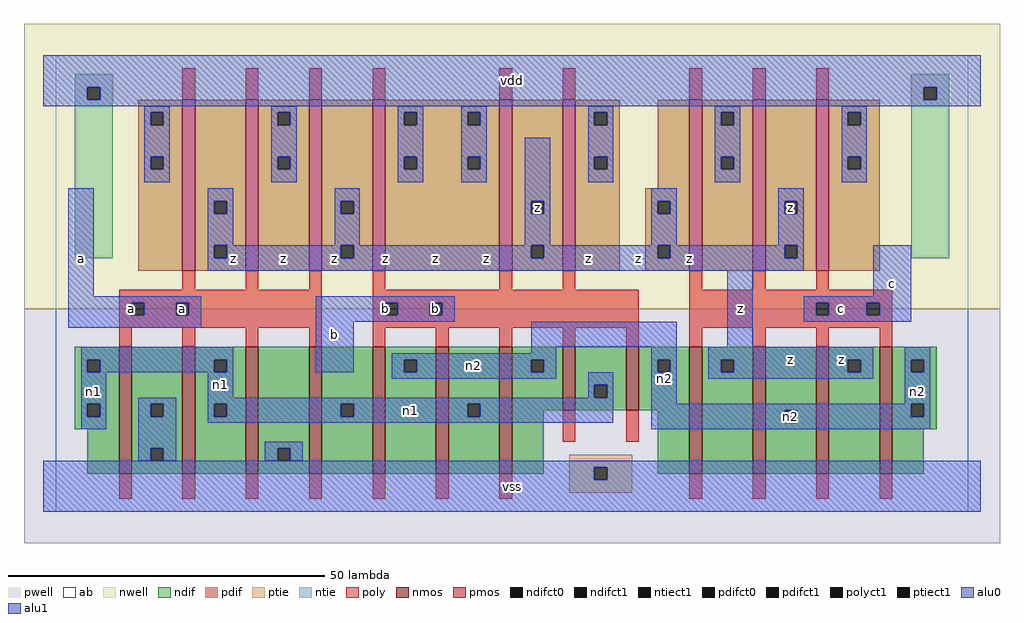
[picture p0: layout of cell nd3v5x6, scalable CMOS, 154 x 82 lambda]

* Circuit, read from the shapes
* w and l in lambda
.subckt nd3v5x6 a b c n1 n2 vdd vss z
M1 vss a n1 vss nfet w=20 l=2 m=4
M2 n2 b n1 vss nfet w=20 l=2 m=3
M3 n1 b n2 vss nfet w=10 l=2 m=2
M4 z c n2 vss nfet w=20 l=2 m=4
M5 z a vdd vdd pfet w=27 l=2 m=3
M6 vdd b z vdd pfet w=27 l=2 m=3
M7 vdd c z vdd pfet w=27 l=2 m=3
.ends

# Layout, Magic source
magic
tech scmos
<< ab >>
rect 0 0 144 72
<< nwell >>
rect -5 32 149 77
<< pwell >>
rect -5 -5 149 32
<< poly >>
rect 20 65 22 70
rect 30 65 32 70
rect 40 65 42 70
rect 50 65 52 70
rect 70 65 72 70
rect 80 65 82 70
rect 100 65 102 70
rect 110 65 112 70
rect 120 65 122 70
rect 20 35 22 38
rect 30 35 32 38
rect 40 35 42 38
rect 10 33 42 35
rect 10 31 12 33
rect 14 31 19 33
rect 21 31 42 33
rect 10 29 42 31
rect 10 26 12 29
rect 20 26 22 29
rect 30 26 32 29
rect 40 26 42 29
rect 50 35 52 38
rect 70 35 72 38
rect 80 35 82 38
rect 100 35 102 38
rect 110 35 112 38
rect 120 35 122 38
rect 50 33 92 35
rect 50 31 52 33
rect 54 31 59 33
rect 61 31 92 33
rect 50 29 92 31
rect 50 26 52 29
rect 60 26 62 29
rect 70 26 72 29
rect 80 26 82 29
rect 90 26 92 29
rect 100 33 132 35
rect 100 31 120 33
rect 122 31 128 33
rect 130 31 132 33
rect 100 29 132 31
rect 100 26 102 29
rect 110 26 112 29
rect 120 26 122 29
rect 130 26 132 29
rect 80 11 82 16
rect 90 11 92 16
rect 10 2 12 6
rect 20 2 22 6
rect 30 2 32 6
rect 40 2 42 6
rect 50 2 52 6
rect 60 2 62 6
rect 70 2 72 6
rect 100 2 102 6
rect 110 2 112 6
rect 120 2 122 6
rect 130 2 132 6
<< ndif >>
rect 3 24 10 26
rect 3 22 5 24
rect 7 22 10 24
rect 3 17 10 22
rect 3 15 5 17
rect 7 15 10 17
rect 3 13 10 15
rect 5 6 10 13
rect 12 17 20 26
rect 12 15 15 17
rect 17 15 20 17
rect 12 10 20 15
rect 12 8 15 10
rect 17 8 20 10
rect 12 6 20 8
rect 22 24 30 26
rect 22 22 25 24
rect 27 22 30 24
rect 22 17 30 22
rect 22 15 25 17
rect 27 15 30 17
rect 22 6 30 15
rect 32 10 40 26
rect 32 8 35 10
rect 37 8 40 10
rect 32 6 40 8
rect 42 17 50 26
rect 42 15 45 17
rect 47 15 50 17
rect 42 6 50 15
rect 52 24 60 26
rect 52 22 55 24
rect 57 22 60 24
rect 52 6 60 22
rect 62 17 70 26
rect 62 15 65 17
rect 67 15 70 17
rect 62 6 70 15
rect 72 24 80 26
rect 72 22 75 24
rect 77 22 80 24
rect 72 16 80 22
rect 82 20 90 26
rect 82 18 85 20
rect 87 18 90 20
rect 82 16 90 18
rect 92 24 100 26
rect 92 22 95 24
rect 97 22 100 24
rect 92 16 100 22
rect 72 6 77 16
rect 95 6 100 16
rect 102 24 110 26
rect 102 22 105 24
rect 107 22 110 24
rect 102 6 110 22
rect 112 16 120 26
rect 112 14 115 16
rect 117 14 120 16
rect 112 6 120 14
rect 122 24 130 26
rect 122 22 125 24
rect 127 22 130 24
rect 122 6 130 22
rect 132 24 139 26
rect 132 22 135 24
rect 137 22 139 24
rect 132 17 139 22
rect 132 15 135 17
rect 137 15 139 17
rect 132 13 139 15
rect 132 6 137 13
<< pdif >>
rect 13 63 20 65
rect 13 61 15 63
rect 17 61 20 63
rect 13 56 20 61
rect 13 54 15 56
rect 17 54 20 56
rect 13 38 20 54
rect 22 49 30 65
rect 22 47 25 49
rect 27 47 30 49
rect 22 42 30 47
rect 22 40 25 42
rect 27 40 30 42
rect 22 38 30 40
rect 32 63 40 65
rect 32 61 35 63
rect 37 61 40 63
rect 32 56 40 61
rect 32 54 35 56
rect 37 54 40 56
rect 32 38 40 54
rect 42 49 50 65
rect 42 47 45 49
rect 47 47 50 49
rect 42 42 50 47
rect 42 40 45 42
rect 47 40 50 42
rect 42 38 50 40
rect 52 63 70 65
rect 52 61 55 63
rect 57 61 65 63
rect 67 61 70 63
rect 52 56 70 61
rect 52 54 55 56
rect 57 54 65 56
rect 67 54 70 56
rect 52 38 70 54
rect 72 49 80 65
rect 72 47 75 49
rect 77 47 80 49
rect 72 42 80 47
rect 72 40 75 42
rect 77 40 80 42
rect 72 38 80 40
rect 82 63 89 65
rect 82 61 85 63
rect 87 61 89 63
rect 82 56 89 61
rect 82 54 85 56
rect 87 54 89 56
rect 82 38 89 54
rect 95 51 100 65
rect 93 49 100 51
rect 93 47 95 49
rect 97 47 100 49
rect 93 42 100 47
rect 93 40 95 42
rect 97 40 100 42
rect 93 38 100 40
rect 102 63 110 65
rect 102 61 105 63
rect 107 61 110 63
rect 102 56 110 61
rect 102 54 105 56
rect 107 54 110 56
rect 102 38 110 54
rect 112 49 120 65
rect 112 47 115 49
rect 117 47 120 49
rect 112 42 120 47
rect 112 40 115 42
rect 117 40 120 42
rect 112 38 120 40
rect 122 63 130 65
rect 122 61 125 63
rect 127 61 130 63
rect 122 56 130 61
rect 122 54 125 56
rect 127 54 130 56
rect 122 38 130 54
<< alu1 >>
rect -2 67 146 72
rect -2 65 5 67
rect 7 65 137 67
rect 139 65 146 67
rect -2 64 146 65
rect 2 34 6 51
rect 24 49 28 51
rect 24 47 25 49
rect 27 47 28 49
rect 24 42 28 47
rect 44 49 48 51
rect 44 47 45 49
rect 47 47 48 49
rect 44 42 48 47
rect 74 49 78 59
rect 74 47 75 49
rect 77 47 78 49
rect 74 42 78 47
rect 94 49 98 51
rect 94 47 95 49
rect 97 47 98 49
rect 94 42 98 47
rect 114 49 118 51
rect 114 47 115 49
rect 117 47 118 49
rect 114 42 118 47
rect 24 40 25 42
rect 27 40 45 42
rect 47 40 75 42
rect 77 40 95 42
rect 97 40 115 42
rect 117 40 118 42
rect 24 38 118 40
rect 2 33 23 34
rect 2 31 12 33
rect 14 31 19 33
rect 21 31 23 33
rect 2 29 23 31
rect 41 33 63 34
rect 41 31 52 33
rect 54 31 59 33
rect 61 31 63 33
rect 41 30 63 31
rect 41 22 47 30
rect 106 26 110 38
rect 129 34 135 42
rect 118 33 135 34
rect 118 31 120 33
rect 122 31 128 33
rect 130 31 135 33
rect 118 30 135 31
rect 103 24 129 26
rect 103 22 105 24
rect 107 22 125 24
rect 127 22 129 24
rect 103 21 129 22
rect -2 7 146 8
rect -2 5 85 7
rect 87 5 146 7
rect -2 0 146 5
<< ptie >>
rect 81 7 91 9
rect 81 5 85 7
rect 87 5 91 7
rect 81 3 91 5
<< ntie >>
rect 3 67 9 69
rect 3 65 5 67
rect 7 65 9 67
rect 135 67 141 69
rect 135 65 137 67
rect 139 65 141 67
rect 3 40 9 65
rect 135 40 141 65
<< nmos >>
rect 10 6 12 26
rect 20 6 22 26
rect 30 6 32 26
rect 40 6 42 26
rect 50 6 52 26
rect 60 6 62 26
rect 70 6 72 26
rect 80 16 82 26
rect 90 16 92 26
rect 100 6 102 26
rect 110 6 112 26
rect 120 6 122 26
rect 130 6 132 26
<< pmos >>
rect 20 38 22 65
rect 30 38 32 65
rect 40 38 42 65
rect 50 38 52 65
rect 70 38 72 65
rect 80 38 82 65
rect 100 38 102 65
rect 110 38 112 65
rect 120 38 122 65
<< polyct1 >>
rect 12 31 14 33
rect 19 31 21 33
rect 52 31 54 33
rect 59 31 61 33
rect 120 31 122 33
rect 128 31 130 33
<< ndifct0 >>
rect 5 22 7 24
rect 5 15 7 17
rect 15 15 17 17
rect 15 8 17 10
rect 25 22 27 24
rect 25 15 27 17
rect 35 8 37 10
rect 45 15 47 17
rect 55 22 57 24
rect 65 15 67 17
rect 75 22 77 24
rect 85 18 87 20
rect 95 22 97 24
rect 115 14 117 16
rect 135 22 137 24
rect 135 15 137 17
<< ndifct1 >>
rect 105 22 107 24
rect 125 22 127 24
<< ntiect1 >>
rect 5 65 7 67
rect 137 65 139 67
<< ptiect1 >>
rect 85 5 87 7
<< pdifct0 >>
rect 15 61 17 63
rect 15 54 17 56
rect 35 61 37 63
rect 35 54 37 56
rect 55 61 57 63
rect 65 61 67 63
rect 55 54 57 56
rect 65 54 67 56
rect 85 61 87 63
rect 85 54 87 56
rect 105 61 107 63
rect 105 54 107 56
rect 125 61 127 63
rect 125 54 127 56
<< pdifct1 >>
rect 25 47 27 49
rect 25 40 27 42
rect 45 47 47 49
rect 45 40 47 42
rect 75 47 77 49
rect 75 40 77 42
rect 95 47 97 49
rect 95 40 97 42
rect 115 47 117 49
rect 115 40 117 42
<< alu0 >>
rect 14 63 18 64
rect 14 61 15 63
rect 17 61 18 63
rect 14 56 18 61
rect 14 54 15 56
rect 17 54 18 56
rect 14 52 18 54
rect 34 63 38 64
rect 34 61 35 63
rect 37 61 38 63
rect 34 56 38 61
rect 34 54 35 56
rect 37 54 38 56
rect 34 52 38 54
rect 54 63 58 64
rect 54 61 55 63
rect 57 61 58 63
rect 54 56 58 61
rect 54 54 55 56
rect 57 54 58 56
rect 54 52 58 54
rect 64 63 68 64
rect 64 61 65 63
rect 67 61 68 63
rect 64 56 68 61
rect 84 63 88 64
rect 84 61 85 63
rect 87 61 88 63
rect 64 54 65 56
rect 67 54 68 56
rect 64 52 68 54
rect 84 56 88 61
rect 84 54 85 56
rect 87 54 88 56
rect 84 52 88 54
rect 104 63 108 64
rect 104 61 105 63
rect 107 61 108 63
rect 104 56 108 61
rect 104 54 105 56
rect 107 54 108 56
rect 104 52 108 54
rect 124 63 128 64
rect 124 61 125 63
rect 127 61 128 63
rect 124 56 128 61
rect 124 54 125 56
rect 127 54 128 56
rect 124 52 128 54
rect 4 24 28 26
rect 4 22 5 24
rect 7 22 25 24
rect 27 22 28 24
rect 75 26 98 30
rect 75 25 79 26
rect 53 24 79 25
rect 53 22 55 24
rect 57 22 75 24
rect 77 22 79 24
rect 94 24 98 26
rect 94 22 95 24
rect 97 22 98 24
rect 4 17 8 22
rect 24 18 28 22
rect 53 21 79 22
rect 84 20 88 22
rect 84 18 85 20
rect 87 18 88 20
rect 4 15 5 17
rect 7 15 8 17
rect 4 13 8 15
rect 13 17 19 18
rect 13 15 15 17
rect 17 15 19 17
rect 13 10 19 15
rect 24 17 88 18
rect 24 15 25 17
rect 27 15 45 17
rect 47 15 65 17
rect 67 15 88 17
rect 24 14 88 15
rect 94 17 98 22
rect 134 24 138 26
rect 134 22 135 24
rect 137 22 138 24
rect 134 17 138 22
rect 94 16 135 17
rect 94 14 115 16
rect 117 15 135 16
rect 137 15 138 17
rect 117 14 138 15
rect 94 13 138 14
rect 13 8 15 10
rect 17 8 19 10
rect 33 10 39 11
rect 33 8 35 10
rect 37 8 39 10
<< labels >>
rlabel alu0 6 19 6 19 6 n1
rlabel alu0 26 20 26 20 6 n1
rlabel alu0 56 16 56 16 6 n1
rlabel alu0 96 21 96 21 6 n2
rlabel alu0 66 23 66 23 6 n2
rlabel ndifct0 116 15 116 15 6 n2
rlabel alu0 136 19 136 19 6 n2
rlabel alu1 12 32 12 32 6 a
rlabel polyct1 20 32 20 32 6 a
rlabel alu1 4 40 4 40 6 a
rlabel alu1 52 32 52 32 6 b
rlabel alu1 44 28 44 28 6 b
rlabel alu1 28 40 28 40 6 z
rlabel alu1 44 40 44 40 6 z
rlabel alu1 52 40 52 40 6 z
rlabel alu1 36 40 36 40 6 z
rlabel alu1 72 4 72 4 6 vss
rlabel polyct1 60 32 60 32 6 b
rlabel alu1 60 40 60 40 6 z
rlabel alu1 84 40 84 40 6 z
rlabel alu1 68 40 68 40 6 z
rlabel pdifct1 76 48 76 48 6 z
rlabel alu1 72 68 72 68 6 vdd
rlabel alu1 108 32 108 32 6 z
rlabel alu1 92 40 92 40 6 z
rlabel alu1 100 40 100 40 6 z
rlabel alu1 116 24 116 24 6 z
rlabel alu1 124 24 124 24 6 z
rlabel alu1 124 32 124 32 6 c
rlabel alu1 132 36 132 36 6 c
rlabel pdifct1 116 48 116 48 6 z
<< end >>
